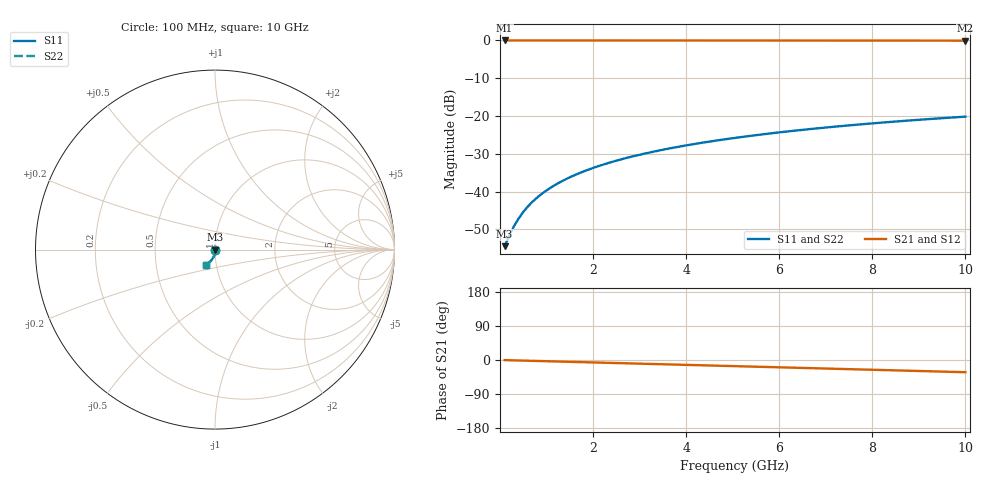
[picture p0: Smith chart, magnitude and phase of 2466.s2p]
# Hz S RI R 50.00
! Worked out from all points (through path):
!   100 points, 100 MHz to 10 GHz, reference 50 ohm
!   highest |S21| = -0.01 dB at 100 MHz (marker M1); lowest = -0.1 dB at 10 GHz (marker M2)
!   group delay of S21, straight-line fit = 8.95 ps
!   lowest |S11| = -54.4 dB at 100 MHz (marker M3), VSWR 1.00, Z = 50.2 - j0.104 ohm
!   |S11| at or under -10 dB: start of sweep to end of sweep
!   |S22| runs from -54.4 to -20.2 dB; largest |S21 - S12| = 0
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1e8  0.00159 -0.00103  0.9984 -0.00559  0.9984 -0.00559  0.00159 -0.00103
2e8  0.00158 -0.00207  0.9983 -0.0112  0.9983 -0.0112  0.00158 -0.00207
3e8  0.00156 -0.0031  0.9982 -0.0168  0.9982 -0.0168  0.00156 -0.0031
4e8  0.00152 -0.00414  0.9981 -0.0224  0.9981 -0.0224  0.00152 -0.00414
5e8  0.00147 -0.00517  0.9979 -0.028  0.9979 -0.028  0.00147 -0.00517
6e8  0.00141 -0.0062  0.9978 -0.0336  0.9978 -0.0336  0.00141 -0.0062
7e8  0.00134 -0.00724  0.9975 -0.0391  0.9975 -0.0391  0.00134 -0.00724
9e8  0.00115 -0.0093  0.997 -0.0503  0.997 -0.0503  0.00115 -0.0093
1e9  0.00105 -0.0103  0.9967 -0.0559  0.9967 -0.0559  0.00105 -0.0103
1.2e9  0.000792 -0.0124  0.996 -0.0671  0.996 -0.0671  0.000792 -0.0124
1.5e9  0.000325 -0.0155  0.9946 -0.0838  0.9946 -0.0838  0.000325 -0.0155
1.8e9  -0.000246 -0.0185  0.993 -0.1005  0.993 -0.1005  -0.000246 -0.0185
2.1e9  -0.00092 -0.0216  0.9911 -0.1172  0.9911 -0.1172  -0.00092 -0.0216
2.5e9  -0.00198 -0.0256  0.9881 -0.1394  0.9881 -0.1394  -0.00198 -0.0256
2.9e9  -0.00322 -0.0295  0.9846 -0.1616  0.9846 -0.1616  -0.00322 -0.0295
3.4e9  -0.00501 -0.0344  0.9795 -0.1891  0.9795 -0.1891  -0.00501 -0.0344
4.2e9  -0.00845 -0.042  0.9696 -0.2328  0.9696 -0.2328  -0.00845 -0.042
5.1e9  -0.0131 -0.0502  0.9562 -0.2815  0.9562 -0.2815  -0.0131 -0.0502
5.9e9  -0.018 -0.057  0.9421 -0.3241  0.9421 -0.3241  -0.018 -0.057
6.7e9  -0.0234 -0.0634  0.926 -0.366  0.926 -0.366  -0.0234 -0.0634
8.4e9  -0.0367 -0.0751  0.8856 -0.4523  0.8856 -0.4523  -0.0367 -0.0751
1e10  -0.051 -0.0837  0.84 -0.5295  0.84 -0.5295  -0.051 -0.0837
